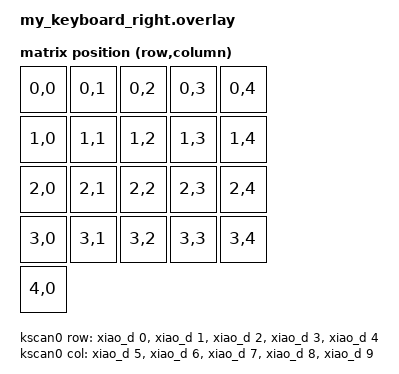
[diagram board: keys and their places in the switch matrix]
/*
 * my_keyboard_right.overlay
 * Right half — 42-key wireless split keyboard
 * MCU: Seeed XIAO BLE (nRF52840)
 *
 * Identical matrix topology to the left half (5 cols × 5 rows, 21 keys).
 * The right PCB is a mirror image physically, but the firmware matrix
 * wiring is the same — ZMK handles the logical mirroring in the keymap.
 *
 * Physical layout (right half):
 *
 *  COL:  0      1      2      3      4
 *  ROW0: SW2    SW4    SW7    SW8    SW10      (5 keys)
 *  ROW1: SW16   SW17   SW18   SW19   SW20      (5 keys)
 *  ROW2: SW26   SW27   SW28   SW29   SW30      (5 keys)
 *  ROW3: SW36   SW37   SW38   SW39   SW40      (5 keys)
 *  ROW4: SW42   —      —      —      —         (1 key — bottom-left thumb)
 *
 * GPIO assignment — same as left half (both XIAOs wired identically):
 *   ROW0 → D0   ROW1 → D1   ROW2 → D2   ROW3 → D3   ROW4 → D4
 *   COL0 → D5   COL1 → D6   COL2 → D7   COL3 → D8   COL4 → D9
 *
 * Key index map (right half, offset +21 in combined keymap):
 *  21  22  23  24  25
 *  26  27  28  29  30
 *  31  32  33  34  35
 *  36  37  38  39  40
 *  41   ← SW42 (thumb, COL0 on right)
 */

#include <dt-bindings/zmk/matrix_transform.h>

/ {
    chosen {
        zmk,kscan     = &kscan0;
        zmk,matrix_transform = &default_transform;
    };

    default_transform: keymap_transform_0 {
        compatible = "zmk,matrix-transform";
        columns = <5>;
        rows    = <5>;

        map = <
        /*  ROW0 */ RC(0,0) RC(0,1) RC(0,2) RC(0,3) RC(0,4)
        /*  ROW1 */ RC(1,0) RC(1,1) RC(1,2) RC(1,3) RC(1,4)
        /*  ROW2 */ RC(2,0) RC(2,1) RC(2,2) RC(2,3) RC(2,4)
        /*  ROW3 */ RC(3,0) RC(3,1) RC(3,2) RC(3,3) RC(3,4)
        /*  ROW4 */ RC(4,0)
        >;
    };

    kscan0: kscan {
        compatible = "zmk,kscan-gpio-matrix";
        label = "KSCAN";

        diode-direction = "col2row";

        row-gpios
            = <&xiao_d 0 (GPIO_ACTIVE_HIGH | GPIO_PULL_DOWN)>  /* ROW0 */
            , <&xiao_d 1 (GPIO_ACTIVE_HIGH | GPIO_PULL_DOWN)>  /* ROW1 */
            , <&xiao_d 2 (GPIO_ACTIVE_HIGH | GPIO_PULL_DOWN)>  /* ROW2 */
            , <&xiao_d 3 (GPIO_ACTIVE_HIGH | GPIO_PULL_DOWN)>  /* ROW3 */
            , <&xiao_d 4 (GPIO_ACTIVE_HIGH | GPIO_PULL_DOWN)>  /* ROW4 */
            ;

        col-gpios
            = <&xiao_d 5 GPIO_ACTIVE_HIGH>  /* COL0 */
            , <&xiao_d 6 GPIO_ACTIVE_HIGH>  /* COL1 */
            , <&xiao_d 7 GPIO_ACTIVE_HIGH>  /* COL2 */
            , <&xiao_d 8 GPIO_ACTIVE_HIGH>  /* COL3 */
            , <&xiao_d 9 GPIO_ACTIVE_HIGH>  /* COL4 */
            ;
    };
};
